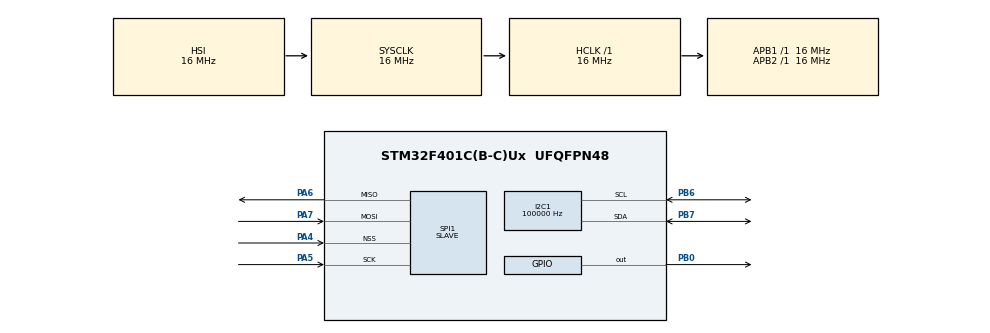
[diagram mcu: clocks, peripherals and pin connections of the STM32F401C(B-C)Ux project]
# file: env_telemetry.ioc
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ADC1.NbrOfConversion=1
ADC1.Rank-1\#ChannelRegularConversion=1
ADC1.Channel-1\#ChannelRegularConversion=ADC_CHANNEL_1
ADC1.SamplingTime-1\#ChannelRegularConversion=ADC_SAMPLETIME_84CYCLES
I2C1.ClockSpeed=100000
Mcu.Family=STM32F4
Mcu.Name=STM32F401C(B-C)Ux
Mcu.Package=UFQFPN48
NVIC.PriorityGroup=NVIC_PRIORITYGROUP_4
PA1.Signal=ADC1_IN1
PA4.Mode=NSS_Signal_Hard_Input
PA4.Signal=SPI1_NSS
PA5.Mode=Full_Duplex_Slave
PA5.Signal=SPI1_SCK
PA6.Mode=Full_Duplex_Slave
PA6.Signal=SPI1_MISO
PA7.Mode=Full_Duplex_Slave
PA7.Signal=SPI1_MOSI
PB0.Signal=GPIO_Output
PB6.Mode=I2C
PB6.Signal=I2C1_SCL
PB7.Mode=I2C
PB7.Signal=I2C1_SDA
ProjectManager.HeapSize=0x200
ProjectManager.StackSize=0x400
ProjectManager.TargetToolchain=STM32CubeIDE
RCC.AHBFreq_Value=16000000
RCC.APB1Freq_Value=16000000
RCC.APB2Freq_Value=16000000
RCC.CortexFreq_Value=16000000
RCC.HSE_VALUE=25000000
RCC.HSI_VALUE=16000000
RCC.LSE_VALUE=32768
RCC.RTCSource=RCC_RTCCLKSOURCE_LSI
RCC.SYSCLKFreq_VALUE=16000000
RCC.VCOOutputFreq_Value=192000000
RTC.Calendar=true
SPI1.Direction=SPI_DIRECTION_2LINES
SPI1.Mode=SPI_MODE_SLAVE
SPI1.VirtualNSS=VM_NSSHARD
SPI1.VirtualType=VM_SLAVE
VP_RTC_VS_RTC_Activate.Mode=RTC_Enabled
board=custom

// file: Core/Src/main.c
/* USER CODE BEGIN Header */
/**
  ******************************************************************************
  * @file           : main.c
  * @brief          : Main program body
  ******************************************************************************
  * Module 4.4/4.5 mini-project.
  *
  * This board is still the SPI1 hardware-NSS slave from the module 4.3
  * mini-project (see beetroot_embedded_course/miniproject_module4/stm32slave),
  * now extended with:
  *   - BME280 over I2C1 (temperature, humidity, pressure) -- see bme280.c/h
  *   - a light sensor (LDR voltage divider) on ADC1_IN1 (PA1), reported as 0-100 %
  *   - the RTC peripheral (LSI-clocked) for date/time
  *
  * Every sensor snapshot is packed into a custom fixed-length SPI frame and
  * shipped to the ESP32 master (module 4.5) on each SPI transaction. See the
  * frame layout comment above Process_SPI_Request() below -- the ESP32 side
  * unpacks the exact same layout.
  ******************************************************************************
  */
/* USER CODE END Header */
#include "main.h"

/* USER CODE BEGIN Includes */
#include "bme280.h"
#include <string.h>
/* USER CODE END Includes */

/* USER CODE BEGIN PD */

/* ----------------------------------------------------------------------------
 * Custom SPI telemetry protocol (STM32 slave -> ESP32 master), module 4.4/4.5.
 *
 * Byte 0 of every frame in both directions is a throwaway dummy: STM32
 * hardware-NSS SPI slave mode is known to unreliably capture/shift out the
 * very first byte right after NSS asserts, so real data starts at byte 1
 * (same quirk documented in the module 4.3 mini-project).
 *
 * REQUEST (ESP32 -> STM32), bytes 1..4 meaningful, rest padding:
 *   [0] dummy
 *   [1] SYNC_BYTE   (0xA5)
 *   [2] CMD_GET_ENV (0x30)
 *   [3] arg         (unused, 0x00)
 *   [4] checksum = frame[1] ^ frame[2] ^ frame[3]
 *   [5..19] reserved (0x00)
 *
 * RESPONSE (STM32 -> ESP32), preloaded by the slave *before* the transaction
 * that carries it (classic SPI-slave one-cycle-behind pattern: the frame you
 * receive during transaction N was prepared while servicing transaction N-1):
 *   [0]  dummy
 *   [1]  ACK_BYTE (0x5A if the request validated, 0x00 otherwise)
 *   [2]  year   (uint8, offset from 2000, e.g. 26 -> 2026)
 *   [3]  month  (1-12)
 *   [4]  day    (1-31)
 *   [5]  hour   (0-23)
 *   [6]  minute (0-59)
 *   [7]  second (0-59)
 *   [8]  temperature_x100 hi byte   (int16, big-endian, degC * 100)
 *   [9]  temperature_x100 lo byte
 *   [10] humidity_x100 hi byte      (uint16, big-endian, %RH * 100)
 *   [11] humidity_x100 lo byte
 *   [12] pressure_x10 hi byte       (uint16, big-endian, hPa * 10)
 *   [13] pressure_x10 lo byte
 *   [14] light_percent (uint8, 0-100)
 *   [15] status bit0=BME280 read ok, bit1=RTC read ok
 *   [16] checksum = XOR of frame[1..15]
 *   [17..19] reserved (0x00)
 * -------------------------------------------------------------------------*/
#define SPI_FRAME_LEN     20U
#define SPI_SYNC_BYTE     0xA5U
#define SPI_ACK_BYTE      0x5AU
#define CMD_GET_ENV       0x30U

#define RTC_BACKUP_MAGIC  0x32F2U /* written to BKP0R once the RTC has a sane default date/time */

/* USER CODE END PD */

SPI_HandleTypeDef hspi1;
I2C_HandleTypeDef hi2c1;
ADC_HandleTypeDef hadc1;
RTC_HandleTypeDef hrtc;

/* USER CODE BEGIN PV */
static uint8_t spi_tx_buf[SPI_FRAME_LEN];
static uint8_t spi_rx_buf[SPI_FRAME_LEN];
static BME280_Handle bme280;
/* USER CODE END PV */

void SystemClock_Config(void);
static void MX_GPIO_Init(void);
static void MX_SPI1_Init(void);
static void MX_I2C1_Init(void);
static void MX_ADC1_Init(void);
static void MX_RTC_Init(void);
/* USER CODE BEGIN PFP */
static uint8_t Read_Light_Percent(void);
static void Build_Env_Response(const uint8_t *request, uint8_t *response);
/* USER CODE END PFP */

/* USER CODE BEGIN 0 */

static uint8_t Read_Light_Percent(void)
{
    /* Assumes an LDR-on-top voltage divider (VDD -> LDR -> PA1 -> fixed R -> GND):
     * more ambient light -> lower LDR resistance -> higher voltage at PA1 -> higher %. */
    HAL_ADC_Start(&hadc1);
    if (HAL_ADC_PollForConversion(&hadc1, 10) != HAL_OK) {
        HAL_ADC_Stop(&hadc1);
        return 0U;
    }
    uint32_t raw = HAL_ADC_GetValue(&hadc1); /* 12-bit, 0..4095 */
    HAL_ADC_Stop(&hadc1);

    uint32_t pct = (raw * 100U) / 4095U;
    return (uint8_t)(pct > 100U ? 100U : pct);
}

/* Builds the 20-byte telemetry response described in the frame-layout comment above.
 * `request` is only used to decide the ACK byte; the sensor snapshot itself is taken
 * unconditionally so the master always gets fresh data even after a corrupted request. */
static void Build_Env_Response(const uint8_t *request, uint8_t *response)
{
    memset(response, 0, SPI_FRAME_LEN);

    uint8_t req_checksum = request[1] ^ request[2] ^ request[3];
    bool request_valid = (request[1] == SPI_SYNC_BYTE) && (request[2] == CMD_GET_ENV) &&
                          (request[4] == req_checksum);

    float temperature_c = 0.0f, humidity_pct = 0.0f, pressure_hpa = 0.0f;
    bool bme_ok = BME280_Read(&bme280, &temperature_c, &humidity_pct, &pressure_hpa);

    RTC_TimeTypeDef time = {0};
    RTC_DateTypeDef date = {0};
    HAL_StatusTypeDef time_status = HAL_RTC_GetTime(&hrtc, &time, RTC_FORMAT_BIN);
    /* HAL_RTC_GetDate must immediately follow HAL_RTC_GetTime: reading TIME locks the
     * shadow registers, and DATE is what actually unlocks them again for the next read. */
    HAL_StatusTypeDef date_status = HAL_RTC_GetDate(&hrtc, &date, RTC_FORMAT_BIN);
    bool rtc_ok = (time_status == HAL_OK) && (date_status == HAL_OK);

    uint8_t light_percent = Read_Light_Percent();

    int16_t temp_x100 = (int16_t)(temperature_c * 100.0f);
    uint16_t hum_x100 = (uint16_t)(humidity_pct * 100.0f);
    uint16_t press_x10 = (uint16_t)(pressure_hpa * 10.0f);

    response[1] = request_valid ? SPI_ACK_BYTE : 0x00U;
    response[2] = date.Year;
    response[3] = date.Month;
    response[4] = date.Date;
    response[5] = time.Hours;
    response[6] = time.Minutes;
    response[7] = time.Seconds;
    response[8] = (uint8_t)((uint16_t)temp_x100 >> 8);
    response[9] = (uint8_t)((uint16_t)temp_x100 & 0xFFU);
    response[10] = (uint8_t)(hum_x100 >> 8);
    response[11] = (uint8_t)(hum_x100 & 0xFFU);
    response[12] = (uint8_t)(press_x10 >> 8);
    response[13] = (uint8_t)(press_x10 & 0xFFU);
    response[14] = light_percent;
    response[15] = (uint8_t)((bme_ok ? 0x01U : 0x00U) | (rtc_ok ? 0x02U : 0x00U));

    uint8_t checksum = 0U;
    for (uint8_t i = 1U; i <= 15U; i++) {
        checksum ^= response[i];
    }
    response[16] = checksum;
}

/* Sets a compile-time default date/time the first time the firmware runs on a given
 * board (or after a full power loss with no backup domain battery), so the RTC never
 * reports 00:00:00 on 2000-01-01 forever. Adjust STARTUP_* below before flashing if you
 * want the clock to start closer to the real time -- there's no host-side time sync here. */
static void RTC_SetDefaultIfUnconfigured(void)
{
    if (HAL_RTCEx_BKUPRead(&hrtc, RTC_BKP_DR0) == RTC_BACKUP_MAGIC) {
        return; /* already configured on a previous boot */
    }

#define STARTUP_YEAR   26U /* 2026 */
#define STARTUP_MONTH  8U
#define STARTUP_DAY    20U
#define STARTUP_HOUR   12U
#define STARTUP_MIN    0U
#define STARTUP_SEC    0U

    RTC_TimeTypeDef time = {0};
    time.Hours = STARTUP_HOUR;
    time.Minutes = STARTUP_MIN;
    time.Seconds = STARTUP_SEC;
    HAL_RTC_SetTime(&hrtc, &time, RTC_FORMAT_BIN);

    RTC_DateTypeDef date = {0};
    date.WeekDay = RTC_WEEKDAY_THURSDAY;
    date.Month = STARTUP_MONTH;
    date.Date = STARTUP_DAY;
    date.Year = STARTUP_YEAR;
    HAL_RTC_SetDate(&hrtc, &date, RTC_FORMAT_BIN);

    HAL_RTCEx_BKUPWrite(&hrtc, RTC_BKP_DR0, RTC_BACKUP_MAGIC);
}

/* USER CODE END 0 */

int main(void)
{

  HAL_Init();

  SystemClock_Config();

  MX_GPIO_Init();
  MX_SPI1_Init();
  MX_I2C1_Init();
  MX_ADC1_Init();
  MX_RTC_Init();
  /* USER CODE BEGIN 2 */
  RTC_SetDefaultIfUnconfigured();

  if (!BME280_Init(&bme280, &hi2c1)) {
    /* Sensor missing/miswired: keep running so SPI telemetry still flows (status
     * byte in the response frame will report bit0=0, and readings will be 0). */
  }
  /* USER CODE END 2 */

  /* Infinite loop */
  while (1)
  {

    /* USER CODE BEGIN 3 */
    if (HAL_SPI_TransmitReceive(&hspi1, spi_tx_buf, spi_rx_buf, SPI_FRAME_LEN, 1500) == HAL_OK)
    {
      Build_Env_Response(spi_rx_buf, spi_tx_buf);
      HAL_GPIO_TogglePin(GPIOB, GPIO_PIN_0); /* heartbeat: toggles on every serviced transaction */
    }

    /* Unconditionally reinit every cycle: hardware-NSS slave mode can hit not just
     * OVR but also a mode fault (MODF), which auto-clears the peripheral's enable
     * bit and disables it until something re-enables it -- HAL_SPI_Init() does that
     * unconditionally, so this recovers from either fault regardless of which one
     * hit (see module 4.3 mini-project for where this workaround came from). */
    HAL_SPI_DeInit(&hspi1);
    MX_SPI1_Init();
  }
  /* USER CODE END 3 */
}

void SystemClock_Config(void)
{
  RCC_OscInitTypeDef RCC_OscInitStruct = {0};
  RCC_ClkInitTypeDef RCC_ClkInitStruct = {0};
  RCC_PeriphCLKInitTypeDef PeriphClkInitStruct = {0};

  /** Configure the main internal regulator output voltage
  */
  __HAL_RCC_PWR_CLK_ENABLE();
  __HAL_PWR_VOLTAGESCALING_CONFIG(PWR_REGULATOR_VOLTAGE_SCALE2);

  /** Initializes the RCC Oscillators according to the specified parameters
  * in the RCC_OscInitTypeDef structure. HSI for the system clock (unchanged
  * from module 4.3), LSI added on top to clock the RTC -- no external 32.768 kHz
  * crystal is assumed to be wired up on this board.
  */
  RCC_OscInitStruct.OscillatorType = RCC_OSCILLATORTYPE_HSI | RCC_OSCILLATORTYPE_LSI;
  RCC_OscInitStruct.HSIState = RCC_HSI_ON;
  RCC_OscInitStruct.LSIState = RCC_LSI_ON;
  RCC_OscInitStruct.HSICalibrationValue = RCC_HSICALIBRATION_DEFAULT;
  RCC_OscInitStruct.PLL.PLLState = RCC_PLL_NONE;
  if (HAL_RCC_OscConfig(&RCC_OscInitStruct) != HAL_OK)
  {
    Error_Handler();
  }

  /** Initializes the CPU, AHB and APB buses clocks
  */
  RCC_ClkInitStruct.ClockType = RCC_CLOCKTYPE_HCLK|RCC_CLOCKTYPE_SYSCLK
                              |RCC_CLOCKTYPE_PCLK1|RCC_CLOCKTYPE_PCLK2;
  RCC_ClkInitStruct.SYSCLKSource = RCC_SYSCLKSOURCE_HSI;
  RCC_ClkInitStruct.AHBCLKDivider = RCC_SYSCLK_DIV1;
  RCC_ClkInitStruct.APB1CLKDivider = RCC_HCLK_DIV1;
  RCC_ClkInitStruct.APB2CLKDivider = RCC_HCLK_DIV1;

  if (HAL_RCC_ClockConfig(&RCC_ClkInitStruct, FLASH_LATENCY_0) != HAL_OK)
  {
    Error_Handler();
  }

  /** RTC clock: LSI (~32 kHz nominal, imprecise but fine for a lab demo -- swap to
  * RCC_RTCCLKSOURCE_LSE if a 32.768 kHz crystal is fitted for real timekeeping accuracy).
  */
  PeriphClkInitStruct.PeriphClockSelection = RCC_PERIPHCLK_RTC;
  PeriphClkInitStruct.RTCClockSelection = RCC_RTCCLKSOURCE_LSI;
  if (HAL_RCCEx_PeriphCLKConfig(&PeriphClkInitStruct) != HAL_OK)
  {
    Error_Handler();
  }
}

static void MX_I2C1_Init(void)
{
  hi2c1.Instance = I2C1;
  hi2c1.Init.ClockSpeed = 100000; /* 100 kHz standard mode -- plenty for a single BME280 */
  hi2c1.Init.DutyCycle = I2C_DUTYCYCLE_2;
  hi2c1.Init.OwnAddress1 = 0;
  hi2c1.Init.AddressingMode = I2C_ADDRESSINGMODE_7BIT;
  hi2c1.Init.DualAddressMode = I2C_DUALADDRESS_DISABLE;
  hi2c1.Init.OwnAddress2 = 0;
  hi2c1.Init.GeneralCallMode = I2C_GENERALCALL_DISABLE;
  hi2c1.Init.NoStretchMode = I2C_NOSTRETCH_DISABLE;
  if (HAL_I2C_Init(&hi2c1) != HAL_OK)
  {
    Error_Handler();
  }
}

static void MX_ADC1_Init(void)
{
  ADC_ChannelConfTypeDef sConfig = {0};

  hadc1.Instance = ADC1;
  hadc1.Init.ClockPrescaler = ADC_CLOCK_SYNC_PCLK_DIV4;
  hadc1.Init.Resolution = ADC_RESOLUTION_12B;
  hadc1.Init.ScanConvMode = DISABLE;
  hadc1.Init.ContinuousConvMode = DISABLE;
  hadc1.Init.DiscontinuousConvMode = DISABLE;
  hadc1.Init.ExternalTrigConvEdge = ADC_EXTERNALTRIGCONVEDGE_NONE;
  hadc1.Init.ExternalTrigConv = ADC_SOFTWARE_START;
  hadc1.Init.DataAlign = ADC_DATAALIGN_RIGHT;
  hadc1.Init.NbrOfConversion = 1;
  hadc1.Init.DMAContinuousRequests = DISABLE;
  hadc1.Init.EOCSelection = ADC_EOC_SINGLE_CONV;
  if (HAL_ADC_Init(&hadc1) != HAL_OK)
  {
    Error_Handler();
  }

  sConfig.Channel = LIGHT_SENSOR_ADC_CHANNEL;
  sConfig.Rank = 1;
  sConfig.SamplingTime = ADC_SAMPLETIME_84CYCLES;
  if (HAL_ADC_ConfigChannel(&hadc1, &sConfig) != HAL_OK)
  {
    Error_Handler();
  }
}

static void MX_RTC_Init(void)
{
  hrtc.Instance = RTC;
  hrtc.Init.HourFormat = RTC_HOURFORMAT_24;
  /* AsynchPrediv/SynchPrediv chosen for a ~32 kHz LSI: (124+1)*(249+1) = 31250, giving a
   * 1 Hz RTC clock close enough for a lab demo (LSI is not trimmed, so expect some drift). */
  hrtc.Init.AsynchPrediv = 124;
  hrtc.Init.SynchPrediv = 249;
  hrtc.Init.OutPut = RTC_OUTPUT_DISABLE;
  hrtc.Init.OutPutPolarity = RTC_OUTPUT_POLARITY_HIGH;
  hrtc.Init.OutPutType = RTC_OUTPUT_TYPE_OPENDRAIN;
  if (HAL_RTC_Init(&hrtc) != HAL_OK)
  {
    Error_Handler();
  }
}

static void MX_SPI1_Init(void)
{
  hspi1.Instance = SPI1;
  hspi1.Init.Mode = SPI_MODE_SLAVE;
  hspi1.Init.Direction = SPI_DIRECTION_2LINES;
  hspi1.Init.DataSize = SPI_DATASIZE_8BIT;
  hspi1.Init.CLKPolarity = SPI_POLARITY_LOW;
  hspi1.Init.CLKPhase = SPI_PHASE_1EDGE;
  hspi1.Init.NSS = SPI_NSS_HARD_INPUT;
  hspi1.Init.FirstBit = SPI_FIRSTBIT_MSB;
  hspi1.Init.TIMode = SPI_TIMODE_DISABLE;
  hspi1.Init.CRCCalculation = SPI_CRCCALCULATION_DISABLE;
  hspi1.Init.CRCPolynomial = 10;
  if (HAL_SPI_Init(&hspi1) != HAL_OK)
  {
    Error_Handler();
  }
}

static void MX_GPIO_Init(void)
{
  GPIO_InitTypeDef GPIO_InitStruct = {0};

  __HAL_RCC_GPIOA_CLK_ENABLE();
  __HAL_RCC_GPIOB_CLK_ENABLE();

  /* USER CODE BEGIN MX_GPIO_Init_2 */
  HAL_GPIO_WritePin(GPIOB, GPIO_PIN_0, GPIO_PIN_RESET);

  GPIO_InitStruct.Pin = GPIO_PIN_0;
  GPIO_InitStruct.Mode = GPIO_MODE_OUTPUT_PP;
  GPIO_InitStruct.Pull = GPIO_NOPULL;
  GPIO_InitStruct.Speed = GPIO_SPEED_FREQ_LOW;
  HAL_GPIO_Init(GPIOB, &GPIO_InitStruct);
  /* USER CODE END MX_GPIO_Init_2 */
}

void Error_Handler(void)
{
  __disable_irq();
  while (1)
  {
  }
}
